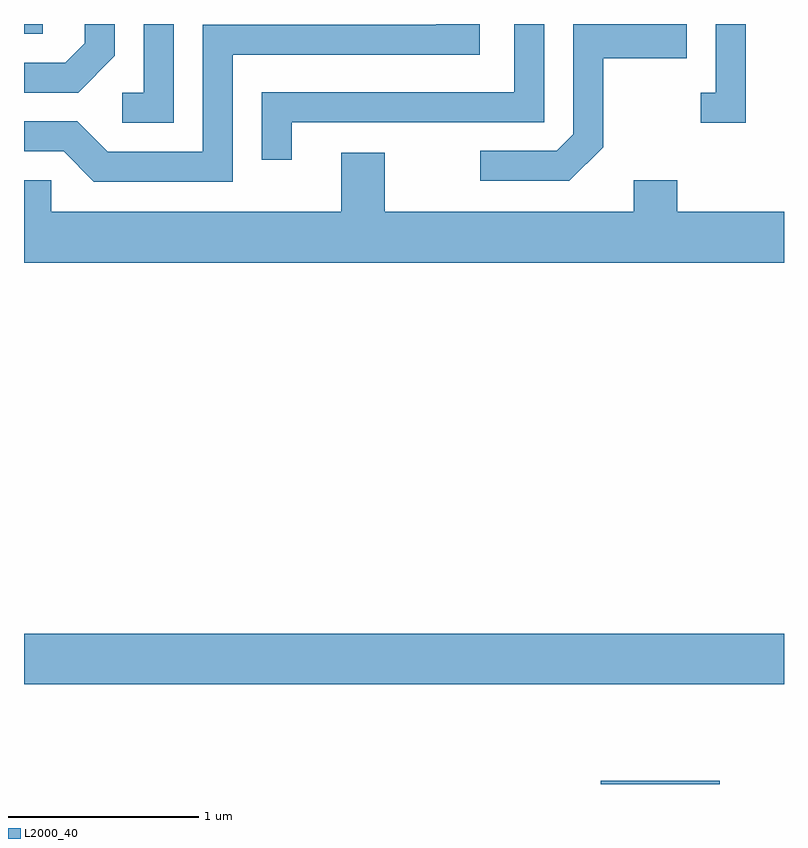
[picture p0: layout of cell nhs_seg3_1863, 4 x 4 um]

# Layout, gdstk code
import gdstk
lib = gdstk.Library(unit=1e-6, precision=1e-09)
def R(c, l, rs):  # rectangles x0, y0, x1, y1
    for r in rs: c.add(gdstk.rectangle(r[:2], r[2:], *l))
def P(c, l, *ps):  # polygons
    for p in ps: c.add(gdstk.Polygon(p, *l))
L2000_40 = (2000, 40)

nhs_seg3_1863 = lib.new_cell('nhs_seg3_1863')
R(nhs_seg3_1863, L2000_40, [(242.646,1169.892,243.274,1169.909), (239.611,1170.416,243.611,1170.684), (239.611,1173.841,239.709,1173.892)])
P(nhs_seg3_1863, L2000_40, [(240.089,1173.724),(240.089,1173.892),(239.931,1173.892),(239.931,1173.792),(239.829,1173.689),(239.611,1173.689),(239.611,1173.531),(239.897,1173.531)],
  [(240.399,1173.892),(240.241,1173.892),(240.241,1173.529),(240.128,1173.529),(240.128,1173.371),(240.399,1173.371)],
  [(240.709,1173.731),(242.009,1173.731),(242.009,1173.892),(241.781,1173.892),(241.781,1173.889),(240.551,1173.889),(240.551,1173.219),(240.052,1173.219),(239.892,1173.379),(239.611,1173.379),(239.611,1173.221),(239.819,1173.221),(239.979,1173.061),(240.709,1173.061)],
  [(243.409,1173.892),(243.251,1173.892),(243.251,1173.529),(243.173,1173.529),(243.173,1173.371),(243.409,1173.371)],
  [(241.019,1173.376),(242.349,1173.376),(242.349,1173.892),(242.191,1173.892),(242.191,1173.534),(240.861,1173.534),(240.861,1173.178),(241.019,1173.178)],
  [(242.659,1173.244),(242.659,1173.711),(243.099,1173.711),(243.099,1173.892),(242.501,1173.892),(242.501,1173.312),(242.414,1173.224),(242.013,1173.224),(242.013,1173.066),(242.482,1173.066)],
  [(243.611,1172.904),(243.049,1172.904),(243.049,1173.069),(242.821,1173.069),(242.821,1172.904),(241.509,1172.904),(241.509,1173.214),(241.281,1173.214),(241.281,1172.904),(239.754,1172.904),(239.754,1173.069),(239.611,1173.069),(239.611,1172.636),(243.611,1172.636)])

lib.write_gds('nhs_seg3_1863.gds')
